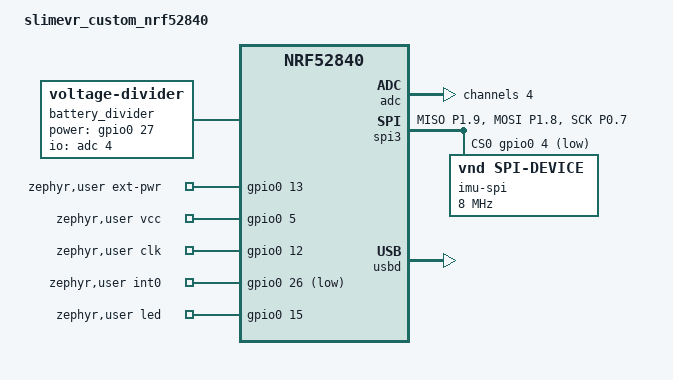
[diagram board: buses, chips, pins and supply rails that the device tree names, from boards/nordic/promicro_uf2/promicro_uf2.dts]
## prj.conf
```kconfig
#CONFIG_NCS_SAMPLES_DEFAULTS
CONFIG_ASSERT=y
CONFIG_ASSERT_NO_COND_INFO=y
CONFIG_ASSERT_NO_MSG_INFO=y
CONFIG_RESET_ON_FATAL_ERROR=y

CONFIG_NCS_APPLICATION_BOOT_BANNER_STRING="SlimeVR-Tracker-nRF"
#CONFIG_NCS_BOOT_BANNER=n
CONFIG_BOOT_BANNER=n

CONFIG_ESB=y
#need to enable for nRF54L
#CONFIG_NRFX_DPPI10=y

CONFIG_ADC=y
CONFIG_ADC_NRFX_SAADC=y
CONFIG_FPU=y
CONFIG_I2C=y
CONFIG_SPI=y
CONFIG_PINCTRL=y
CONFIG_SENSOR=y

CONFIG_NVS=y
CONFIG_NVS_LOOKUP_CACHE=y
CONFIG_NVS_INIT_BAD_MEMORY_REGION=y

CONFIG_POWEROFF=y
CONFIG_REBOOT=y

CONFIG_FLASH=y
CONFIG_FLASH_PAGE_LAYOUT=y
CONFIG_FLASH_MAP=y

CONFIG_SETTINGS=y
CONFIG_SETTINGS_RUNTIME=y
CONFIG_SETTINGS_NONE=y

CONFIG_MPU_ALLOW_FLASH_WRITE=y

CONFIG_RETAINED_MEM=y

CONFIG_USE_SEGGER_RTT=y
CONFIG_LOG=y
#CONFIG_PRINTK=y
CONFIG_LOG_MODE_DEFERRED=y
CONFIG_LOG_SPEED=y
CONFIG_LOG_BACKEND_RTT=y
CONFIG_CBPRINTF_FP_SUPPORT=y
CONFIG_ADC_LOG_LEVEL_OFF=y
CONFIG_LOG_FUNC_NAME_PREFIX_ERR=y
CONFIG_LOG_BUFFER_SIZE=1536
CONFIG_LOG_BACKEND_UART_AUTOSTART=n
CONFIG_LOG_PROCESS_THREAD_SLEEP_MS=50
CONFIG_LOG_PROCESS_THREAD_STACK_SIZE=1024

CONFIG_PWM=y
CONFIG_GPIO=y

CONFIG_CRC=y

CONFIG_NEWLIB_LIBC=y
#deprecated?
#CONFIG_NRFX_TIMER1=y

#speed up boot? (use internal rc oscillator)
CONFIG_CLOCK_CONTROL_NRF_K32SRC_RC=y
CONFIG_CLOCK_CONTROL_NRF_K32SRC_RC_CALIBRATION=n
#speed up boot? (synthesize lf clock)
#CONFIG_CLOCK_CONTROL_NRF_K32SRC_SYNTH=y

# dont need it
CONFIG_CRYPTO=n

# set timeout for 25ms, sufficient for ~1000 bytes
CONFIG_I2C_NRFX_TRANSFER_TIMEOUT=25

CONFIG_USB_DEVICE_HID=y
CONFIG_USB_DEVICE_VID=0x1209
CONFIG_USB_DEVICE_PID=0x7692
CONFIG_USB_HID_BOOT_PROTOCOL=y
CONFIG_USB_DEVICE_INITIALIZE_AT_BOOT=n
CONFIG_USB_CDC_ACM=y
CONFIG_UART_INTERRUPT_DRIVEN=y
CONFIG_USB_WORKQUEUE_STACK_SIZE=512

CONFIG_SERIAL=y
CONFIG_CONSOLE=y
CONFIG_RTT_CONSOLE=y
CONFIG_UART_CONSOLE=y
CONFIG_UART_LINE_CTRL=y
# fit "write all <base64:173>"
CONFIG_CONSOLE_INPUT_MAX_LINE_LEN=256

CONFIG_LOG=y
CONFIG_USB_DRIVER_LOG_LEVEL_ERR=y
CONFIG_USB_DEVICE_LOG_LEVEL_ERR=y
CONFIG_USB_CDC_ACM_LOG_LEVEL_OFF=y

CONFIG_LOG_BACKEND_UART=y

CONFIG_CONSOLE_SUBSYS=y
CONFIG_CONSOLE_GETLINE=y

CONFIG_NVS_LOG_LEVEL_WRN=y
CONFIG_USB_HID_LOG_LEVEL_WRN=y

CONFIG_USB_DEVICE_SOF=y
CONFIG_USB_HID_REPORTS=256

#CONFIG_USB_HID_POLL_INTERVAL_MS=1
CONFIG_USB_HID_POLL_INTERVAL_MS=0
CONFIG_HID_INTERRUPT_EP_MPS=64
#CONFIG_ENABLE_HID_INT_OUT_EP=y

CONFIG_SYSTEM_WORKQUEUE_STACK_SIZE=256
CONFIG_MAIN_STACK_SIZE=512
#crashing on nrf54l at 512

CONFIG_THREAD_NAME=y

# TODO: because of icm426, this will break things and needs to be raised to at least 3k
CONFIG_HEAP_MEM_POOL_SIZE=2048
CONFIG_ISR_STACK_SIZE=1024

CONFIG_PM_DEVICE=y

CONFIG_BASE64=y

#CONFIG_THREAD_ANALYZER=y
#CONFIG_THREAD_ANALYZER_AUTO=y
#CONFIG_THREAD_ANALYZER_AUTO_INTERVAL=5
CONFIG_BATTERY_USE_REG_LDO_MAPPING=y
CONFIG_NRFX_GPIOTE=y
```

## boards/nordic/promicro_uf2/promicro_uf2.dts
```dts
/dts-v1/;
#include <nordic/nrf52840_qiaa.dtsi>

&pinctrl {
	spi3_default: spi3_default {
		group1 {
			psels = <NRF_PSEL(SPIM_MISO, 1, 9)>,
					<NRF_PSEL(SPIM_MOSI, 1, 8)>,
					<NRF_PSEL(SPIM_SCK,  0, 7)>;
		};
	};
	spi3_sleep: spi3_sleep {
		group1 {
			psels = <NRF_PSEL(SPIM_MISO, 1, 9)>,
					<NRF_PSEL(SPIM_MOSI, 1, 8)>,
					<NRF_PSEL(SPIM_SCK,  0, 7)>;
			low-power-enable;
		};
	};
};

/ {
	model = "slimevr_custom_nrf52840";
	compatible = "nordic,nrf52840-qiaa";

	chosen {
		zephyr,sram = &sram0;
		zephyr,flash = &flash0;
		zephyr,console = &cdc_acm_uart0;
		zephyr,shell-uart = &cdc_acm_uart0;
	};

	aliases {
		imu = &imu_spi;
	};

	/* Имя узла должно быть СТРОГО battery_divider для твоего battery.c */
	battery_divider: battery_divider {
		compatible = "voltage-divider";
		status = "okay";
		io-channels = <&adc 4>; 
		output-ohms = <10000000>; /* Свойства дол��ны быть с 's' на конце */
		full-ohms = <20000000>;
		power-gpios = <&gpio0 27 GPIO_ACTIVE_HIGH>; /* Код сам будет включать P0.27 перед замером */
	};

	zephyr,user {
		/* Убираем отсюда io-channels, так как код ищет их в battery_divider */
		ext-pwr-gpios = <&gpio0 13 GPIO_ACTIVE_HIGH>;
		vcc-gpios = <&gpio0 5 GPIO_ACTIVE_HIGH>;
		clk-gpios = <&gpio0 12 GPIO_OPEN_DRAIN>;
		int0-gpios = <&gpio0 26 (GPIO_PULL_UP | GPIO_ACTIVE_LOW)>;
		led-gpios = <&gpio0 15 GPIO_ACTIVE_HIGH>;
	};
};

&adc {
	status = "okay";
	#address-cells = <1>;
	#size-cells = <0>;

	channel@4 {
		reg = <4>;
		zephyr,gain = "ADC_GAIN_1_6";
		zephyr,reference = "ADC_REF_INTERNAL";
		zephyr,acquisition-time = <ADC_ACQ_TIME(ADC_ACQ_TIME_MICROSECONDS, 10)>;
		zephyr,input-positive = "ADC_INPUT_AIN4";
	};
};

&spi3 {
	compatible = "nordic,nrf-spim";
	status = "okay";
	max-frequency = <DT_FREQ_M(8)>; 
	pinctrl-0 = <&spi3_default>;
	pinctrl-1 = <&spi3_sleep>;
	pinctrl-names = "default", "sleep";
	cs-gpios = <&gpio0 4 GPIO_ACTIVE_LOW>;

	imu_spi: imu_spi@0 {
		compatible = "vnd,spi-device";
		spi-max-frequency = <8000000>;
		label = "imu-spi";
		reg = <0>;
	};
};

/* Включаем всё остальное */
&gpio0 { status = "okay"; };
&gpio1 { status = "okay"; };
&usbd { status = "okay"; cdc_acm_uart0: cdc_acm_uart0 { compatible = "zephyr,cdc-acm-uart"; }; };
```

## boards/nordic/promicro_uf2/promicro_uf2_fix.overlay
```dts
&spi3 {
	status = "okay";
	max-frequency = <DT_FREQ_M(8)>; // Фикс скорости
	cs-gpios = <&gpio0 4 GPIO_ACTIVE_LOW>;

	imu_spi: imu_spi@0 {
		compatible = "vnd,spi-device";
		spi-max-frequency = <DT_FREQ_M(8)>;
		reg = <0>;
		label = "IMU";
	};
};

/ {
	zephyr,user {
		vcc-gpios = <&gpio0 5 GPIO_ACTIVE_HIGH>;
		ext-pwr-gpios = <&gpio0 13 GPIO_ACTIVE_HIGH>; // Включаем общую линию питания
		int0-gpios = <&gpio0 26 (GPIO_PULL_UP | GPIO_ACTIVE_LOW)>;
		adc-en-gpios = <&gpio0 27 GPIO_ACTIVE_HIGH>; // Включаем замер батареи
	};
};
```

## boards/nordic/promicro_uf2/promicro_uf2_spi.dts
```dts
// Copyright (c) 2024 Nordic Semiconductor ASA
// SPDX-License-Identifier: Apache-2.0

/dts-v1/;
#include "promicro_uf2.dts"
```

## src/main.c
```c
/*
	SlimeVR Code is placed under the MIT license
	Copyright (c) 2025 SlimeVR Contributors

	Permission is hereby granted, free of charge, to any person obtaining a copy
	of this software and associated documentation files (the "Software"), to deal
	in the Software without restriction, including without limitation the rights
	to use, copy, modify, merge, publish, distribute, sublicense, and/or sell
	copies of the Software, and to permit persons to whom the Software is
	furnished to do so, subject to the following conditions:

	The above copyright notice and this permission notice shall be included in
	all copies or substantial portions of the Software.

	THE SOFTWARE IS PROVIDED "AS IS", WITHOUT WARRANTY OF ANY KIND, EXPRESS OR
	IMPLIED, INCLUDING BUT NOT LIMITED TO THE WARRANTIES OF MERCHANTABILITY,
	FITNESS FOR A PARTICULAR PURPOSE AND NONINFRINGEMENT. IN NO EVENT SHALL THE
	AUTHORS OR COPYRIGHT HOLDERS BE LIABLE FOR ANY CLAIM, DAMAGES OR OTHER
	LIABILITY, WHETHER IN AN ACTION OF CONTRACT, TORT OR OTHERWISE, ARISING FROM,
	OUT OF OR IN CONNECTION WITH THE SOFTWARE OR THE USE OR OTHER DEALINGS IN
	THE SOFTWARE.
*/
#include "globals.h"
#include "system/system.h"
//#include "connection/timer.h"
#include "connection/esb.h"
#include "sensor/sensor.h"

#include <zephyr/sys/reboot.h>

#define DFU_DBL_RESET_MEM 0x20007F7C
#define DFU_DBL_RESET_APP 0x4ee5677e

static uint32_t *dbl_reset_mem __attribute__((unused)) = ((uint32_t *)DFU_DBL_RESET_MEM); // retained

LOG_MODULE_REGISTER(main, LOG_LEVEL_INF);

#if DT_NODE_HAS_PROP(DT_ALIAS(sw0), gpios)
#define BUTTON_EXISTS true
#endif

#define DFU_EXISTS CONFIG_BUILD_OUTPUT_UF2 || CONFIG_BOARD_HAS_NRF5_BOOTLOADER
#define ADAFRUIT_BOOTLOADER CONFIG_BUILD_OUTPUT_UF2

int main(void)
{
#ifdef NRF_RESET
	bool reset_pin_reset = NRF_RESET->RESETREAS & RESET_RESETREAS_RESETPIN_Msk;
	NRF_RESET->RESETREAS = NRF_RESET->RESETREAS; // Clear RESETREAS
#else
	bool reset_pin_reset = NRF_POWER->RESETREAS & POWER_RESETREAS_RESETPIN_Msk;
	NRF_POWER->RESETREAS = NRF_POWER->RESETREAS; // Clear RESETREAS
#endif

#if BUTTON_EXISTS
	if (CONFIG_0_SETTINGS_READ(CONFIG_0_IGNORE_RESET))
		reset_pin_reset = false;
#endif

	set_led(SYS_LED_PATTERN_ONESHOT_WAKE, SYS_LED_PRIORITY_BOOT); // Boot LED

	uint8_t reboot_counter = reboot_counter_read();
	bool booting_from_shutdown = !reboot_counter && (reset_pin_reset || button_read()); // 0 means from user shutdown or failed ram validation

	/* if button is not held after booting from shutdown, power off again
	 * if button press is normal, continue boot
	 * if button is held for 1 second, reset pairing and continue boot
	 * if button is held but tracker was waking (not booting from shutdown) ignore the press // TODO: should it pass on to regular handler (e.g. intent to shutdown)
	 */

	if (booting_from_shutdown)
	{
		set_led(SYS_LED_PATTERN_ONESHOT_POWERON, SYS_LED_PRIORITY_BOOT);
		if (button_read())
		{
			set_status(SYS_STATUS_BUTTON_PRESSED, true); // prevent going to sleep while still holding
			int64_t start_time = k_uptime_get();
			while (button_read())
			{
				if (k_uptime_get() - start_time > 1000)
				{
					LOG_INF("Pairing requested");
					esb_reset_pair();
					break;
				}
				k_msleep(1);
			}
			if (CONFIG_0_SETTINGS_READ(CONFIG_0_USER_SHUTDOWN) && k_uptime_get() - start_time < 50) // debounce // TODO: does sense pin stay configured?
				sys_request_system_silent_off(false);
			set_status(SYS_STATUS_BUTTON_PRESSED, false);
		}
	}

	bool docked = dock_read();

	uint8_t reset_mode = -1;

	if (reboot_counter == 0)
		reboot_counter = 100;
	else if (reboot_counter > 200)
		reboot_counter = 200; // How did you get here
	reset_mode = reboot_counter - 100;
	if (reset_pin_reset && !docked) // Count pin resets while not docked
	{
		reboot_counter++;
		reboot_counter_write(reboot_counter);
		LOG_INF("Reset count: %u", reboot_counter);
#if ADAFRUIT_BOOTLOADER
#if BUTTON_EXISTS
		if (!CONFIG_0_SETTINGS_READ(CONFIG_0_IGNORE_RESET))
			(*dbl_reset_mem) = DFU_DBL_RESET_APP; // Using Adafruit bootloader, skip DFU if reset button could be used
#else
		(*dbl_reset_mem) = DFU_DBL_RESET_APP; // Using Adafruit bootloader, skip DFU since reset button is used
#endif
#endif
		k_msleep(1000); // Wait before clearing counter and continuing
	}
	reboot_counter_write(100);
	if (!reset_pin_reset && reset_mode == 0) // Only need to check once, if the button is pressed again an interrupt is triggered from before
		reset_mode = -1; // Cancel reset_mode (shutdown)

	if (CONFIG_0_SETTINGS_READ(CONFIG_0_USER_SHUTDOWN))
	{
		bool charging = chg_read();
		bool charged = stby_read();
		bool plugged = vin_read();

		if (reset_mode == 0 && !booting_from_shutdown && !charging && !charged && !plugged) // Reset mode user shutdown, only if unplugged and undocked
			sys_user_shutdown();
	}

	sys_reset_mode(reset_mode);

	return 0;
}
```
